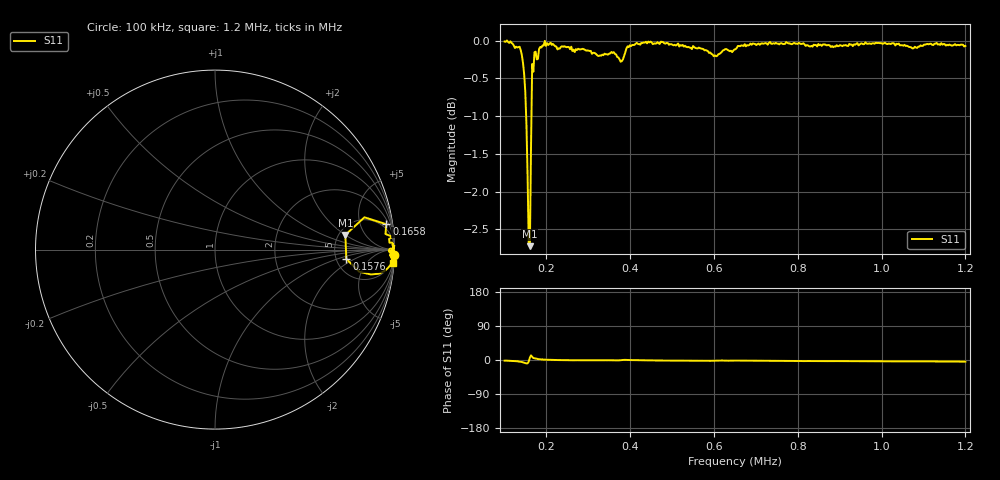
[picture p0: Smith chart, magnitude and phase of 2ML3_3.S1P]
!Agilent Technologies,E5071C,MY46100265,A.07.02
!Date: Wed Mar 04 14:54:50 2020
!Data & Calibration Information:
!Freq	S11:SOLT1(ON)
# Hz S MA R 50
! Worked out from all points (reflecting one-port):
!   402 points, 100 kHz to 1.2 MHz, reference 50 ohm
!   lowest |S11| = -2.7 dB at 160.3 kHz (marker M1), VSWR 6.43, Z = 285 + j100 ohm
!   phase of S11 starts at -2 deg and turns -3 deg over the sweep
!   S11 on the Smith chart (normalised r, x): 100 kHz: 2, -65; 157.6 kHz: 6.18, -1.40; 165.8 kHz: 3, +13; 1.2 MHz: 3, -26
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100000  0.9989 -1.8
127431  0.991 -3.1
141147  0.9782 -5.3
146633  0.9507 -7.2
149377  0.9248 -8.3
152120  0.88 -9.1
154863  0.8136 -8.7
157606  0.7335 -4.1
160349  0.7309 6.4
163092  0.8519 12.2
165835  0.965 8.4
168579  0.9538 5.2
171322  0.9826 4.4
176808  0.972 3.5
185037  0.9905 1.9
198753  0.9921 0.9
239900  0.991 -0.2
308479  0.9803 -1.0
377057  0.9685 -0.5
388030  0.9823 0.4
409975  0.9937 -0.5
514214  0.9958 -1.7
601995  0.978 -1.9
651372  0.9872 -1.5
788529  0.9957 -2.6
925686  0.9941 -3.0
1062843  0.9917 -3.9
1200000  0.992 -4.3
